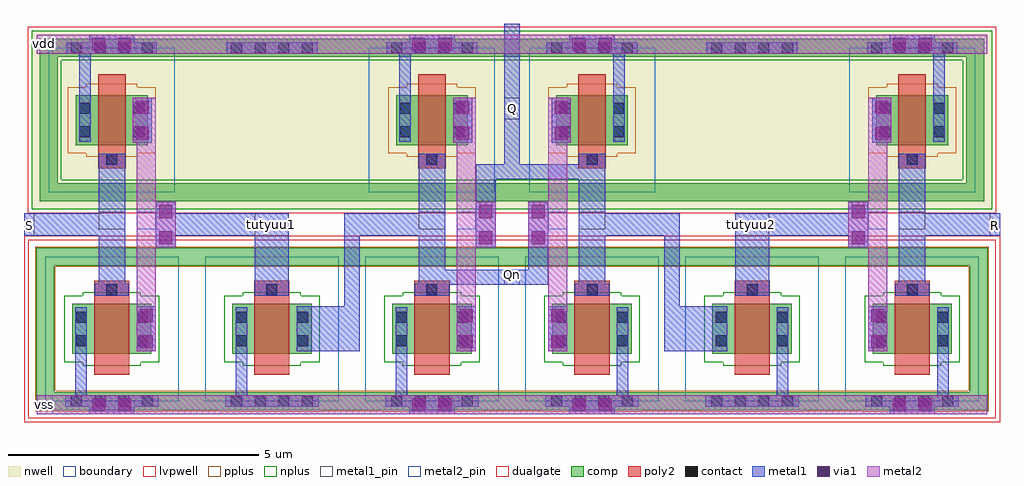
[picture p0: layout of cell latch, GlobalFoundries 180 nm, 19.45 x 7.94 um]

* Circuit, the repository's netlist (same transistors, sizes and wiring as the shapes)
* NGSPICE file created from latch.ext - technology: gf180mcuD

.subckt XM2_x4_latch G D w_n319_n356# S
X0 D G S w_n319_n356# pfet_06v0 ad=0.44p pd=2.88u as=0.44p ps=2.88u w=1u l=0.55u
.ends

.subckt XM1_x4_latch G D a_n302_n324# S
X0 D G S a_n302_n324# nfet_06v0 ad=0.44p pd=2.88u as=0.44p ps=2.88u w=1u l=0.7u
.ends

.subckt x4_latch inv_out inv_in vdd vss
XXM2_x4_latch_0 inv_in inv_out vdd vdd XM2_x4_latch
XXM1_x4_latch_0 inv_in inv_out vss vss XM1_x4_latch
.ends

.subckt XM2_x3_latch G D w_n319_n356# S
X0 S G D w_n319_n356# pfet_06v0 ad=0.44p pd=2.88u as=0.44p ps=2.88u w=1u l=0.55u
.ends

.subckt XM1_x3_latch G D a_n319_n324# S
X0 S G D a_n319_n324# nfet_06v0 ad=0.44p pd=2.88u as=0.44p ps=2.88u w=1u l=0.7u
.ends

.subckt x3_latch inv_out vdd inv_in vss
XXM2_x3_latch_0 inv_in inv_out vdd vdd XM2_x3_latch
XXM1_x3_latch_0 inv_in inv_out vss vss XM1_x3_latch
.ends

.subckt XM4_latch G D a_n319_n324# S a_n319_252#
X0 D G S a_n319_n324# nfet_06v0 ad=0.44p pd=2.88u as=0.44p ps=2.88u w=1u l=0.7u
.ends

.subckt XM2_x2_latch G D w_n319_n356# S
X0 D G S w_n319_n356# pfet_06v0 ad=0.44p pd=2.88u as=0.44p ps=2.88u w=1u l=0.55u
.ends

.subckt XM1_x2_latch G a_n320_n324# D a_n318_252# S
X0 D G S a_n320_n324# nfet_06v0 ad=0.44p pd=2.88u as=0.44p ps=2.88u w=1u l=0.7u
.ends

.subckt x2_latch inv_out vdd inv_in XM1_x2_latch_0/a_n318_252# vss
XXM2_x2_latch_0 inv_in inv_out vdd vdd XM2_x2_latch
XXM1_x2_latch_0 inv_in vss inv_out XM1_x2_latch_0/a_n318_252# vss XM1_x2_latch
.ends

.subckt XM3_latch G D a_n319_n324# S a_n319_252#
X0 D G S a_n319_n324# nfet_06v0 ad=0.44p pd=2.88u as=0.44p ps=2.88u w=1u l=0.7u
.ends

.subckt XM2_x1_latch G D w_n319_n356# S
X0 D G S w_n319_n356# pfet_06v0 ad=0.44p pd=2.88u as=0.44p ps=2.88u w=1u l=0.55u
.ends

.subckt XM1_x1_latch G D a_n318_n324# S
X0 D G S a_n318_n324# nfet_06v0 ad=0.44p pd=2.88u as=0.44p ps=2.88u w=1u l=0.7u
.ends

.subckt x1_latch inv_out inv_in vdd vss
XXM2_x1_latch_0 inv_in inv_out vdd vdd XM2_x1_latch
XXM1_x1_latch_0 inv_in inv_out vss vss XM1_x1_latch
.ends

.subckt latch vss vdd Q Qn R S
Xx4_latch_0 XM3_latch_0/G S vdd vss x4_latch
Xx3_latch_0 XM4_latch_0/G vdd R vss x3_latch
XXM4_latch_0 XM4_latch_0/G Q vss vss vss XM4_latch
Xx2_latch_0 Qn vdd Q vss vss x2_latch
XXM3_latch_0 XM3_latch_0/G Qn vss vss vss XM3_latch
Xx1_latch_0 Q Qn vdd vss x1_latch
.ends

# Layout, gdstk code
from math import pi, radians
import gdstk
lib = gdstk.Library(unit=1e-6, precision=1e-09)
def R(c, l, rs):  # rectangles x0, y0, x1, y1
    for r in rs: c.add(gdstk.rectangle(r[:2], r[2:], *l))
def A(c, l, x, y, w, h, nx, ny, dx, dy):  # array of equal rectangles
    R(c, l, [(x+i*dx, y+j*dy, x+i*dx+w, y+j*dy+h) for i in range(nx) for j in range(ny)])
boundary = (0, 0)
nwell = (21, 0)
comp = (22, 0)
poly2 = (30, 0)
pplus = (31, 0)
nplus = (32, 0)
contact = (33, 0)
metal1 = (34, 0)
metal1_pin = (34, 10)
via1 = (35, 0)
metal2 = (36, 0)
metal2_pin = (36, 10)
dualgate = (55, 0)
lvpwell = (204, 0)

xm2_x4_latch = lib.new_cell('XM2_x4_latch')
R(xm2_x4_latch, boundary, [(-1.255,-1.44,1.255,1.44)])
R(xm2_x4_latch, nwell, [(-1.595,-1.78,1.595,1.78)])
R(xm2_x4_latch, comp, [(-1.435,-1.62,1.595,-1.26), (-1.435,-1.26,-1.075,1.26), (-0.715,-0.5,0.715,0.5), (-1.435,1.26,1.595,1.62)])
R(xm2_x4_latch, poly2, [(-0.275,-0.915,0.275,0.96)])
R(xm2_x4_latch, pplus, [(-0.505,-0.73,0.505,-0.66), (-0.875,-0.66,0.875,0.66), (-0.505,0.66,0.505,0.73)])
R(xm2_x4_latch, nplus, [(-1.595,-1.78,1.595,-1.19), (-1.595,-1.19,-1.005,1.19), (-1.595,1.19,1.595,1.78)])
A(xm2_x4_latch, contact, -0.815, -1.55, 0.22, 0.22, 4, 1, 0.47, 0)
R(xm2_x4_latch, contact, [(-0.645,-0.345,-0.425,-0.125), (0.425,-0.345,0.645,-0.125), (-0.645,0.125,-0.425,0.345), (0.425,0.125,0.645,0.345), (-0.11,0.67,0.11,0.89)])
R(xm2_x4_latch, metal1, [(-0.9,-1.555,0.9,-1.325), (-0.65,-0.435,-0.42,0.435), (0.42,-0.435,0.65,0.435), (-0.265,0.665,0.265,0.895)])
R(xm2_x4_latch, dualgate, [(-1.675,-1.86,1.675,1.86)])
xm2_x4_latch.add(gdstk.Label('S', (-0.6,0), layer=34, texttype=0))
xm2_x4_latch.add(gdstk.Label('D', (0.6,0), layer=34, texttype=0))
xm2_x4_latch.add(gdstk.Label('G', (0,0), layer=30, texttype=10))

xm1_x4_latch = lib.new_cell('XM1_x4_latch')
R(xm1_x4_latch, boundary, [(-1.33,-1.44,1.33,1.44)])
R(xm1_x4_latch, comp, [(-1.51,-1.62,1.595,-1.26), (-1.51,-1.26,-1.15,1.26), (-0.79,-0.5,0.79,0.5), (-1.51,1.26,1.595,1.62)])
R(xm1_x4_latch, poly2, [(-0.35,-0.915,0.35,0.96), (-0.35,-0.915,0.35,0.96)])
R(xm1_x4_latch, pplus, [(-1.025,-1.65,1.025,-1.64), (-1.53,-1.64,1.595,-1.23), (-1.53,-1.23,-1.13,1.24), (-1.53,1.24,1.595,1.64)])
R(xm1_x4_latch, nplus, [(-0.58,-0.73,0.58,-0.66), (-0.95,-0.66,0.95,0.66), (-0.58,0.66,0.58,0.73)])
A(xm1_x4_latch, contact, -0.815, -1.55, 0.22, 0.22, 4, 1, 0.47, 0)
R(xm1_x4_latch, contact, [(-0.72,-0.345,-0.5,-0.125), (0.5,-0.345,0.72,-0.125), (-0.72,0.125,-0.5,0.345), (0.5,0.125,0.72,0.345), (-0.11,0.67,0.11,0.89)])
R(xm1_x4_latch, metal1, [(-0.93,-1.555,0.93,-1.325), (-0.725,-0.435,-0.495,0.435), (0.495,-0.435,0.725,0.435), (-0.34,0.665,0.34,0.895)])
R(xm1_x4_latch, dualgate, [(-1.75,-1.86,1.75,1.86)])
R(xm1_x4_latch, lvpwell, [(-1.67,-1.78,1.67,1.78)])
xm1_x4_latch.add(gdstk.Label('S', (-0.6,0), layer=34, texttype=0))
xm1_x4_latch.add(gdstk.Label('D', (0.6,0), layer=34, texttype=0))
xm1_x4_latch.add(gdstk.Label('G', (0,0), layer=30, texttype=10))

x4_latch = lib.new_cell('x4_latch')
R(x4_latch, metal1, [(3.55,-5.865,4.45,-5.485), (3.275,-5.715,3.505,-3.725), (4.495,-4.61,4.875,-3.71), (3.735,-3.495,4.265,-0.665), (4.42,-0.45,4.8,0.45), (3.35,-0.435,3.58,1.555), (3.55,1.325,4.45,1.705)])
R(x4_latch, metal1_pin, [(3.07,-5.715,3.3,-5.485), (3.735,-2.17,4.265,-1.83), (3.1,1.325,3.33,1.555)])
R(x4_latch, via1, [(3.61,-5.805,3.87,-5.545), (4.13,-5.805,4.39,-5.545), (4.555,-4.55,4.815,-4.29), (4.555,-4.03,4.815,-3.77), (4.48,-0.39,4.74,-0.13), (4.48,0.13,4.74,0.39), (3.61,1.385,3.87,1.645), (4.13,1.385,4.39,1.645)])
R(x4_latch, metal2, [(2.5,-5.865,5.595,-5.485), (3.55,-5.865,4.45,-5.485), (4.495,-4.61,4.875,0.45), (4.495,-4.61,4.875,-3.71), (4.42,-0.45,4.8,0.45), (2.5,1.325,5.595,1.705), (3.55,1.325,4.45,1.705)])
R(x4_latch, metal2_pin, [(4.495,-2.17,4.875,-1.83)])
x4_latch.add(gdstk.Reference(xm2_x4_latch, (4,0), x_reflection=True))
x4_latch.add(gdstk.Reference(xm1_x4_latch, (4,-4.16)))
x4_latch.add(gdstk.Label('inv_in', (3.999,-1.987), layer=34, texttype=10))
x4_latch.add(gdstk.Label('vss', (3.184,-5.6), layer=34, texttype=10))
x4_latch.add(gdstk.Label('vdd', (3.214,1.44), layer=34, texttype=10))
x4_latch.add(gdstk.Label('inv_out', (4.68,-1.998), layer=36, texttype=10))

xm2_x1_latch = lib.new_cell('XM2_x1_latch')
R(xm2_x1_latch, boundary, [(-1.255,-1.44,1.255,1.44)])
R(xm2_x1_latch, nwell, [(-1.595,-1.78,1.595,1.78)])
R(xm2_x1_latch, comp, [(-1.595,-1.62,1.595,-1.26), (-0.715,-0.5,0.715,0.5), (-1.595,1.26,1.595,1.62)])
R(xm2_x1_latch, poly2, [(-0.275,-0.915,0.275,0.96)])
R(xm2_x1_latch, pplus, [(-0.505,-0.73,0.505,-0.66), (-0.875,-0.66,0.875,0.66), (-0.505,0.66,0.505,0.73)])
R(xm2_x1_latch, nplus, [(-1.595,-1.78,1.595,-1.19), (-1.595,1.19,1.595,1.78)])
A(xm2_x1_latch, contact, -0.815, -1.55, 0.22, 0.22, 4, 1, 0.47, 0)
R(xm2_x1_latch, contact, [(-0.645,-0.345,-0.425,-0.125), (0.425,-0.345,0.645,-0.125), (-0.645,0.125,-0.425,0.345), (0.425,0.125,0.645,0.345), (-0.11,0.67,0.11,0.89)])
R(xm2_x1_latch, metal1, [(-0.9,-1.555,0.9,-1.325), (-0.65,-0.435,-0.42,0.435), (0.42,-0.435,0.65,0.435), (-0.265,0.665,0.265,0.895)])
R(xm2_x1_latch, dualgate, [(-1.675,-1.86,1.675,1.86)])
xm2_x1_latch.add(gdstk.Label('S', (-0.6,0), layer=34, texttype=0))
xm2_x1_latch.add(gdstk.Label('D', (0.6,0), layer=34, texttype=0))
xm2_x1_latch.add(gdstk.Label('G', (0,0), layer=30, texttype=10))

xm1_x1_latch = lib.new_cell('XM1_x1_latch')
R(xm1_x1_latch, boundary, [(-1.33,-1.44,1.33,1.44)])
R(xm1_x1_latch, comp, [(-1.59,-1.62,1.6,-1.26), (-0.79,-0.5,0.79,0.5), (-1.59,1.26,1.595,1.62)])
R(xm1_x1_latch, poly2, [(-0.35,-0.915,0.35,0.96), (-0.35,-0.915,0.35,0.96)])
R(xm1_x1_latch, pplus, [(-1.025,-1.65,1.025,-1.64), (-1.59,-1.64,1.6,-1.23), (-1.59,1.24,1.595,1.64)])
R(xm1_x1_latch, nplus, [(-0.58,-0.73,0.58,-0.66), (-0.95,-0.66,0.95,0.66), (-0.58,0.66,0.58,0.73)])
A(xm1_x1_latch, contact, -0.815, -1.55, 0.22, 0.22, 4, 1, 0.47, 0)
R(xm1_x1_latch, contact, [(-0.72,-0.345,-0.5,-0.125), (0.5,-0.345,0.72,-0.125), (-0.72,0.125,-0.5,0.345), (0.5,0.125,0.72,0.345), (-0.11,0.67,0.11,0.89)])
R(xm1_x1_latch, metal1, [(-0.93,-1.555,0.93,-1.325), (-0.725,-0.435,-0.495,0.435), (0.495,-0.435,0.725,0.435), (-0.34,0.665,0.34,0.895)])
R(xm1_x1_latch, dualgate, [(-1.75,-1.86,1.75,1.86)])
R(xm1_x1_latch, lvpwell, [(-1.67,-1.78,1.67,1.78)])
xm1_x1_latch.add(gdstk.Label('S', (-0.6,0), layer=34, texttype=0))
xm1_x1_latch.add(gdstk.Label('D', (0.6,0), layer=34, texttype=0))
xm1_x1_latch.add(gdstk.Label('G', (0,0), layer=30, texttype=10))

x1_latch = lib.new_cell('x1_latch')
R(x1_latch, metal1, [(3.55,-5.865,4.45,-5.485), (3.275,-5.715,3.505,-3.725), (4.495,-4.61,4.875,-3.71), (3.735,-3.495,4.265,-0.665), (4.42,-0.45,4.8,0.45), (3.35,-0.435,3.58,1.555), (3.55,1.325,4.45,1.705)])
R(x1_latch, metal1_pin, [(3.07,-5.715,3.3,-5.485), (3.735,-2.17,4.265,-1.83), (3.1,1.325,3.33,1.555)])
R(x1_latch, via1, [(3.61,-5.805,3.87,-5.545), (4.13,-5.805,4.39,-5.545), (4.555,-4.55,4.815,-4.29), (4.555,-4.03,4.815,-3.77), (4.48,-0.39,4.74,-0.13), (4.48,0.13,4.74,0.39), (3.61,1.385,3.87,1.645), (4.13,1.385,4.39,1.645)])
R(x1_latch, metal2, [(2.41,-5.865,5.6,-5.485), (3.55,-5.865,4.45,-5.485), (4.495,-4.61,4.875,0.45), (4.495,-4.61,4.875,-3.71), (4.42,-0.45,4.8,0.45), (2.405,1.325,5.595,1.705), (3.55,1.325,4.45,1.705)])
R(x1_latch, metal2_pin, [(4.495,-2.17,4.875,-1.83)])
x1_latch.add(gdstk.Reference(xm2_x1_latch, (4,0), x_reflection=True))
x1_latch.add(gdstk.Reference(xm1_x1_latch, (4,-4.16)))
x1_latch.add(gdstk.Label('inv_in', (3.999,-1.987), layer=34, texttype=10))
x1_latch.add(gdstk.Label('vss', (3.184,-5.6), layer=34, texttype=10))
x1_latch.add(gdstk.Label('vdd', (3.214,1.44), layer=34, texttype=10))
x1_latch.add(gdstk.Label('inv_out', (4.68,-1.998), layer=36, texttype=10))

xm2_x3_latch = lib.new_cell('XM2_x3_latch')
R(xm2_x3_latch, boundary, [(-1.255,-1.44,1.255,1.44)])
R(xm2_x3_latch, nwell, [(-1.595,-1.78,1.595,1.78)])
R(xm2_x3_latch, comp, [(-1.595,-1.62,1.435,-1.26), (1.075,-1.26,1.435,1.26), (-0.715,-0.5,0.715,0.5), (-1.595,1.26,1.435,1.62)])
R(xm2_x3_latch, poly2, [(-0.275,-0.915,0.275,0.96)])
R(xm2_x3_latch, pplus, [(-0.505,-0.73,0.505,-0.66), (-0.875,-0.66,0.875,0.66), (-0.505,0.66,0.505,0.73)])
R(xm2_x3_latch, nplus, [(-1.595,-1.78,1.595,-1.19), (1.005,-1.19,1.595,1.19), (-1.595,1.19,1.595,1.78)])
A(xm2_x3_latch, contact, -0.815, -1.55, 0.22, 0.22, 4, 1, 0.47, 0)
R(xm2_x3_latch, contact, [(-0.645,-0.345,-0.425,-0.125), (0.425,-0.345,0.645,-0.125), (-0.645,0.125,-0.425,0.345), (0.425,0.125,0.645,0.345), (-0.11,0.67,0.11,0.89)])
R(xm2_x3_latch, metal1, [(-0.9,-1.555,0.9,-1.325), (-0.65,-0.435,-0.42,0.435), (0.42,-0.435,0.65,0.435), (-0.265,0.665,0.265,0.895)])
R(xm2_x3_latch, dualgate, [(-1.675,-1.86,1.675,1.86)])
xm2_x3_latch.add(gdstk.Label('D', (-0.6,0), layer=34, texttype=0))
xm2_x3_latch.add(gdstk.Label('S', (0.6,0), layer=34, texttype=0))
xm2_x3_latch.add(gdstk.Label('G', (0,0), layer=30, texttype=10))

xm1_x3_latch = lib.new_cell('XM1_x3_latch')
R(xm1_x3_latch, boundary, [(-1.33,-1.44,1.33,1.44)])
R(xm1_x3_latch, comp, [(-1.595,-1.62,1.51,-1.26), (1.15,-1.26,1.51,1.26), (-0.79,-0.5,0.79,0.5), (-1.595,1.26,1.51,1.62)])
R(xm1_x3_latch, poly2, [(-0.35,-0.915,0.35,0.96), (-0.35,-0.915,0.35,0.96)])
R(xm1_x3_latch, pplus, [(-1.025,-1.65,1.025,-1.64), (-1.595,-1.64,1.53,-1.23), (1.13,-1.23,1.53,1.24), (-1.595,1.24,1.53,1.64)])
R(xm1_x3_latch, nplus, [(-0.58,-0.73,0.58,-0.66), (-0.95,-0.66,0.95,0.66), (-0.58,0.66,0.58,0.73)])
A(xm1_x3_latch, contact, -0.815, -1.55, 0.22, 0.22, 4, 1, 0.47, 0)
R(xm1_x3_latch, contact, [(-0.72,-0.345,-0.5,-0.125), (0.5,-0.345,0.72,-0.125), (-0.72,0.125,-0.5,0.345), (0.5,0.125,0.72,0.345), (-0.11,0.67,0.11,0.89)])
R(xm1_x3_latch, metal1, [(-0.93,-1.555,0.93,-1.325), (-0.725,-0.435,-0.495,0.435), (0.495,-0.435,0.725,0.435), (-0.34,0.665,0.34,0.895)])
R(xm1_x3_latch, dualgate, [(-1.75,-1.86,1.75,1.86)])
R(xm1_x3_latch, lvpwell, [(-1.67,-1.78,1.67,1.78)])
xm1_x3_latch.add(gdstk.Label('D', (-0.6,0), layer=34, texttype=0))
xm1_x3_latch.add(gdstk.Label('S', (0.6,0), layer=34, texttype=0))
xm1_x3_latch.add(gdstk.Label('G', (0,0), layer=30, texttype=10))

x3_latch = lib.new_cell('x3_latch')
R(x3_latch, metal1, [(3.55,-5.865,4.45,-5.485), (4.495,-5.715,4.725,-3.725), (3.125,-4.61,3.505,-3.71), (3.735,-3.495,4.265,-0.665), (3.2,-0.45,3.58,0.45), (4.42,-0.435,4.65,1.555), (3.55,1.325,4.45,1.705)])
R(x3_latch, metal1_pin, [(4.7,-5.715,4.93,-5.485), (3.735,-2.17,4.265,-1.83), (4.67,1.325,4.9,1.555)])
R(x3_latch, via1, [(3.61,-5.805,3.87,-5.545), (4.13,-5.805,4.39,-5.545), (3.185,-4.55,3.445,-4.29), (3.185,-4.03,3.445,-3.77), (3.26,-0.39,3.52,-0.13), (3.26,0.13,3.52,0.39), (3.61,1.385,3.87,1.645), (4.13,1.385,4.39,1.645)])
R(x3_latch, metal2, [(2.5,-5.865,5.5,-5.485), (3.55,-5.865,4.45,-5.485), (3.125,-4.61,3.505,-3.71), (3.125,-4.61,3.505,0.45), (3.2,-0.45,3.58,0.45), (2.5,1.325,5.5,1.705), (3.55,1.325,4.45,1.705)])
R(x3_latch, metal2_pin, [(3.125,-2.17,3.505,-1.83)])
x3_latch.add(gdstk.Reference(xm2_x3_latch, (4,0), x_reflection=True))
x3_latch.add(gdstk.Reference(xm1_x3_latch, (4,-4.16)))
x3_latch.add(gdstk.Label('vdd', (4.786,1.44), layer=34, texttype=10))
x3_latch.add(gdstk.Label('vss', (4.816,-5.6), layer=34, texttype=10))
x3_latch.add(gdstk.Label('inv_in', (4.001,-1.987), layer=34, texttype=10))
x3_latch.add(gdstk.Label('inv_out', (3.32,-1.998), layer=36, texttype=10))

xm3_latch = lib.new_cell('XM3_latch')
R(xm3_latch, boundary, [(-1.33,-1.44,1.33,1.44)])
R(xm3_latch, comp, [(-1.595,-1.62,1.6,-1.26), (-0.79,-0.5,0.79,0.5), (-1.595,1.26,1.6,1.62)])
R(xm3_latch, poly2, [(-0.35,-0.915,0.35,0.96)])
R(xm3_latch, pplus, [(-1.025,-1.65,1.025,-1.64), (-1.595,-1.64,1.6,-1.23), (-1.595,1.24,1.6,1.64)])
R(xm3_latch, nplus, [(-0.58,-0.73,0.58,-0.66), (-0.95,-0.66,0.95,0.66), (-0.58,0.66,0.58,0.73)])
A(xm3_latch, contact, -0.815, -1.55, 0.22, 0.22, 4, 1, 0.47, 0)
R(xm3_latch, contact, [(-0.72,-0.345,-0.5,-0.125), (0.5,-0.345,0.72,-0.125), (-0.72,0.125,-0.5,0.345), (0.5,0.125,0.72,0.345), (-0.11,0.67,0.11,0.89)])
R(xm3_latch, metal1, [(-0.93,-1.555,0.93,-1.325), (-0.725,-0.435,-0.495,0.435), (0.495,-0.435,0.725,0.435), (-0.34,0.665,0.34,0.895)])
R(xm3_latch, dualgate, [(-1.75,-1.86,1.75,1.86)])
R(xm3_latch, lvpwell, [(-1.67,-1.78,1.67,1.78)])
xm3_latch.add(gdstk.Label('D', (0.6,0), layer=34, texttype=0))
xm3_latch.add(gdstk.Label('S', (-0.6,0), layer=34, texttype=0))
xm3_latch.add(gdstk.Label('G', (0,0), layer=30, texttype=10))

xm4_latch = lib.new_cell('XM4_latch')
R(xm4_latch, boundary, [(-1.33,-1.44,1.33,1.44)])
R(xm4_latch, comp, [(-1.595,-1.62,1.59,-1.26), (-0.79,-0.5,0.79,0.5), (-1.595,1.26,1.6,1.62)])
R(xm4_latch, poly2, [(-0.35,-0.915,0.35,0.96)])
R(xm4_latch, pplus, [(-1.025,-1.65,1.025,-1.64), (-1.595,-1.64,1.59,-1.23), (-1.595,1.24,1.6,1.64)])
R(xm4_latch, nplus, [(-0.58,-0.73,0.58,-0.66), (-0.95,-0.66,0.95,0.66), (-0.58,0.66,0.58,0.73)])
A(xm4_latch, contact, -0.815, -1.55, 0.22, 0.22, 4, 1, 0.47, 0)
R(xm4_latch, contact, [(-0.72,-0.345,-0.5,-0.125), (0.5,-0.345,0.72,-0.125), (-0.72,0.125,-0.5,0.345), (0.5,0.125,0.72,0.345), (-0.11,0.67,0.11,0.89)])
R(xm4_latch, metal1, [(-0.93,-1.555,0.93,-1.325), (-0.725,-0.435,-0.495,0.435), (0.495,-0.435,0.725,0.435), (-0.34,0.665,0.34,0.895)])
R(xm4_latch, dualgate, [(-1.75,-1.86,1.75,1.86)])
R(xm4_latch, lvpwell, [(-1.67,-1.78,1.67,1.78)])
xm4_latch.add(gdstk.Label('D', (0.6,0), layer=34, texttype=0))
xm4_latch.add(gdstk.Label('S', (-0.6,0), layer=34, texttype=0))
xm4_latch.add(gdstk.Label('G', (0,0), layer=30, texttype=10))

xm2_x2_latch = lib.new_cell('XM2_x2_latch')
R(xm2_x2_latch, boundary, [(-1.255,-1.44,1.255,1.44)])
R(xm2_x2_latch, nwell, [(-1.595,-1.78,1.595,1.78)])
R(xm2_x2_latch, comp, [(-1.595,-1.62,1.595,-1.26), (-0.715,-0.5,0.715,0.5), (-1.595,1.26,1.595,1.62)])
R(xm2_x2_latch, poly2, [(-0.275,-0.915,0.275,0.96)])
R(xm2_x2_latch, pplus, [(-0.505,-0.73,0.505,-0.66), (-0.875,-0.66,0.875,0.66), (-0.505,0.66,0.505,0.73)])
R(xm2_x2_latch, nplus, [(-1.595,-1.78,1.595,-1.19), (-1.595,1.19,1.595,1.78)])
A(xm2_x2_latch, contact, -0.815, -1.55, 0.22, 0.22, 4, 1, 0.47, 0)
R(xm2_x2_latch, contact, [(-0.645,-0.345,-0.425,-0.125), (0.425,-0.345,0.645,-0.125), (-0.645,0.125,-0.425,0.345), (0.425,0.125,0.645,0.345), (-0.11,0.67,0.11,0.89)])
R(xm2_x2_latch, metal1, [(-0.9,-1.555,0.9,-1.325), (-0.65,-0.435,-0.42,0.435), (0.42,-0.435,0.65,0.435), (-0.265,0.665,0.265,0.895)])
R(xm2_x2_latch, dualgate, [(-1.675,-1.86,1.675,1.86)])
xm2_x2_latch.add(gdstk.Label('D', (0.6,0), layer=34, texttype=0))
xm2_x2_latch.add(gdstk.Label('S', (-0.6,0), layer=34, texttype=0))
xm2_x2_latch.add(gdstk.Label('G', (0,0), layer=30, texttype=10))

xm1_x2_latch = lib.new_cell('XM1_x2_latch')
R(xm1_x2_latch, boundary, [(-1.33,-1.44,1.33,1.44)])
R(xm1_x2_latch, comp, [(-1.6,-1.62,1.59,-1.26), (-0.79,-0.5,0.79,0.5), (-1.59,1.26,1.595,1.62)])
R(xm1_x2_latch, poly2, [(-0.35,-0.915,0.35,0.96), (-0.35,-0.915,0.35,0.96)])
R(xm1_x2_latch, pplus, [(-1.025,-1.65,1.025,-1.64), (-1.6,-1.64,1.59,-1.23), (-1.59,1.24,1.595,1.64)])
R(xm1_x2_latch, nplus, [(-0.58,-0.73,0.58,-0.66), (-0.95,-0.66,0.95,0.66), (-0.58,0.66,0.58,0.73)])
A(xm1_x2_latch, contact, -0.815, -1.55, 0.22, 0.22, 4, 1, 0.47, 0)
R(xm1_x2_latch, contact, [(-0.72,-0.345,-0.5,-0.125), (0.5,-0.345,0.72,-0.125), (-0.72,0.125,-0.5,0.345), (0.5,0.125,0.72,0.345), (-0.11,0.67,0.11,0.89)])
R(xm1_x2_latch, metal1, [(-0.93,-1.555,0.93,-1.325), (-0.725,-0.435,-0.495,0.435), (0.495,-0.435,0.725,0.435), (-0.34,0.665,0.34,0.895)])
R(xm1_x2_latch, dualgate, [(-1.75,-1.86,1.75,1.86)])
R(xm1_x2_latch, lvpwell, [(-1.67,-1.78,1.67,1.78)])
xm1_x2_latch.add(gdstk.Label('D', (0.6,0), layer=34, texttype=0))
xm1_x2_latch.add(gdstk.Label('S', (-0.6,0), layer=34, texttype=0))
xm1_x2_latch.add(gdstk.Label('G', (0,0), layer=30, texttype=10))

x2_latch = lib.new_cell('x2_latch')
R(x2_latch, metal1, [(3.55,-5.865,4.45,-5.485), (3.275,-5.715,3.505,-3.725), (4.495,-4.61,4.875,-3.71), (3.735,-3.495,4.265,-0.665), (4.42,-0.45,4.8,0.45), (3.35,-0.435,3.58,1.555), (3.55,1.325,4.45,1.705)])
R(x2_latch, metal1_pin, [(3.07,-5.715,3.3,-5.485), (3.735,-2.17,4.265,-1.83), (3.1,1.325,3.33,1.555)])
R(x2_latch, via1, [(3.61,-5.805,3.87,-5.545), (4.13,-5.805,4.39,-5.545), (4.555,-4.55,4.815,-4.29), (4.555,-4.03,4.815,-3.77), (4.48,-0.39,4.74,-0.13), (4.48,0.13,4.74,0.39), (3.61,1.385,3.87,1.645), (4.13,1.385,4.39,1.645)])
R(x2_latch, metal2, [(2.5,-5.865,5.5,-5.485), (3.55,-5.865,4.45,-5.485), (4.495,-4.61,4.875,-3.71), (4.495,-4.61,4.875,0.45), (4.42,-0.45,4.8,0.45), (2.405,1.325,5.595,1.705), (3.55,1.325,4.45,1.705)])
R(x2_latch, metal2_pin, [(4.495,-2.17,4.875,-1.83)])
x2_latch.add(gdstk.Reference(xm2_x2_latch, (4,0), x_reflection=True))
x2_latch.add(gdstk.Reference(xm1_x2_latch, (4,-4.16)))
x2_latch.add(gdstk.Label('vdd', (3.214,1.44), layer=34, texttype=10))
x2_latch.add(gdstk.Label('vss', (3.184,-5.6), layer=34, texttype=10))
x2_latch.add(gdstk.Label('inv_in', (3.999,-1.987), layer=34, texttype=10))
x2_latch.add(gdstk.Label('inv_out', (4.68,-1.998), layer=36, texttype=10))

latch = lib.new_cell('latch')
R(latch, nwell, [(-6.38,0.3,-3.19,3.86), (3.19,0.3,6.38,3.86)])
R(latch, comp, [(-6.38,0.46,-3.19,0.82), (3.19,0.46,6.38,0.82), (-6.38,3.34,-3.19,3.7), (3.19,3.34,6.38,3.7)])
R(latch, nplus, [(-6.38,0.3,-3.19,0.89), (3.19,0.3,6.38,0.89), (-6.38,3.27,-3.19,3.86), (3.19,3.27,6.38,3.86)])
A(latch, contact, -5.6, 3.41, 0.22, 0.22, 4, 1, 0.47, 0)
A(latch, contact, 3.97, 3.41, 0.22, 0.22, 4, 1, 0.47, 0)
R(latch, metal1, [(-5.51,-3.635,-5.28,-1.645), (5.28,-3.635,5.51,-1.645), (-4.29,-2.53,-3.035,-1.63), (-4.29,-2.53,-3.035,-1.63), (-3.345,-2.53,-3.035,0.22), (3.035,-2.53,3.345,0.22), (3.035,-2.53,4.29,-1.63), (-5.125,-1.415,-4.445,0.22), (4.445,-1.415,5.125,0.22), (-1.86,-1.2,0.72,-0.9), (0.32,-1.2,0.72,0.45), (-7.1,-0.45,-6.7,0.45), (-0.72,-0.45,-0.32,0.45), (-0.72,-0.45,-0.32,1.199), (0.32,-0.45,0.72,0.45), (6.7,-0.45,7.1,0.45), (-9.725,-0.22,-7.71,0.22), (-7.1,-0.22,-4.445,0.22), (-3.345,-0.22,-1.33,0.22), (-3.345,-0.22,-1.33,0.22), (1.33,-0.22,3.345,0.22), (4.445,-0.22,7.1,0.22), (7.71,-0.22,9.725,0.22), (-0.72,0.9,1.86,1.2), (-0.155,0.9,0.155,4.001), (-5.685,3.405,-3.885,3.635), (3.885,3.405,5.685,3.635)])
R(latch, metal1_pin, [(-0.155,-1.2,0.155,-0.9), (-9.725,-0.22,-9.525,0.22), (-5.125,-0.22,-4.445,0.22), (4.445,-0.22,5.125,0.22), (9.525,-0.22,9.725,0.22), (-0.155,2.1,0.155,2.53)])
R(latch, via1, [(-7.03,-0.39,-6.77,-0.13), (-0.65,-0.39,-0.39,-0.13), (0.39,-0.39,0.65,-0.13), (6.77,-0.39,7.03,-0.13), (-7.03,0.13,-6.77,0.39), (-0.65,0.13,-0.39,0.39), (0.39,0.13,0.65,0.39), (6.77,0.13,7.03,0.39)])
R(latch, metal2, [(-9.475,-3.785,9.155,-3.405), (-7.1,-0.45,-6.7,0.45), (-0.72,-0.45,-0.32,0.45), (0.32,-0.45,0.72,0.45), (6.7,-0.45,7.1,0.45), (-9.475,3.405,9.155,3.785)])
R(latch, metal2_pin, [(-9.475,-3.785,-9.15,-3.405), (-9.475,3.405,-9.15,3.785)])
R(latch, dualgate, [(-6.46,0.22,-3.11,3.94), (3.11,0.22,6.46,3.94)])
latch.add(gdstk.Reference(x4_latch, (-11.975,2.08)))
latch.add(gdstk.Reference(x1_latch, (-5.595,2.08)))
latch.add(gdstk.Reference(x3_latch, (3.975,2.08)))
latch.add(gdstk.Reference(xm3_latch, (-4.785,-2.08)))
latch.add(gdstk.Reference(xm4_latch, (4.785,-2.08), rotation=pi, x_reflection=True))
latch.add(gdstk.Reference(x2_latch, (5.595,2.08), rotation=pi, x_reflection=True))
latch.add(gdstk.Label('Q', (0.001,2.305), layer=34, texttype=10))
latch.add(gdstk.Label('Qn', (0.001,-0.995), layer=34, texttype=10))
latch.add(gdstk.Label('R', (9.625,-0.02), layer=34, texttype=10))
latch.add(gdstk.Label('S', (-9.625,-0.02), layer=34, texttype=10))
latch.add(gdstk.Label('tutyuu1', (-4.8,0), layer=34, texttype=10))
latch.add(gdstk.Label('tutyuu2', (4.77,0), layer=34, texttype=10))
latch.add(gdstk.Label('vss', (-9.325,-3.59), layer=36, texttype=10))
latch.add(gdstk.Label('vdd', (-9.325,3.6), layer=36, texttype=10))

lib.write_gds('latch.gds')
